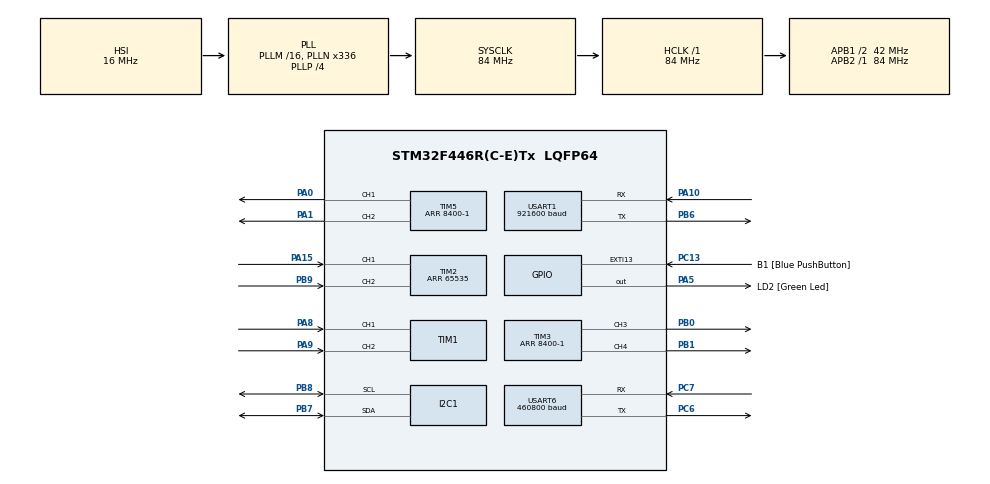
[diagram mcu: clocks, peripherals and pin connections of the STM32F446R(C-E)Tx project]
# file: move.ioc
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I2C1.I2C_Mode=I2C_Fast
Mcu.Family=STM32F4
Mcu.Name=STM32F446R(C-E)Tx
Mcu.Package=LQFP64
NVIC.I2C1_ER_IRQn=true\:1\:0\:true\:false\:true\:true\:true\:true
NVIC.I2C1_EV_IRQn=true\:1\:0\:true\:false\:true\:true\:true\:true
NVIC.PriorityGroup=NVIC_PRIORITYGROUP_4
NVIC.TIM4_IRQn=true\:1\:0\:true\:false\:true\:true\:true\:true
NVIC.USART1_IRQn=true\:1\:0\:true\:false\:true\:true\:true\:true
NVIC.USART6_IRQn=true\:0\:0\:true\:false\:true\:true\:true\:true
PA0-WKUP.Signal=S_TIM5_CH1
PA1.Signal=S_TIM5_CH2
PA10.Mode=Asynchronous
PA10.Signal=USART1_RX
PA13.GPIO_Label=TMS
PA13.Mode=Serial_Wire
PA13.Signal=SYS_JTMS-SWDIO
PA14.GPIO_Label=TCK
PA14.Mode=Serial_Wire
PA14.Signal=SYS_JTCK-SWCLK
PA15.GPIO_PuPd=GPIO_NOPULL
PA15.Signal=S_TIM2_CH1_ETR
PA5.GPIO_Label=LD2 [Green Led]
PA5.Signal=GPIO_Output
PA8.Signal=S_TIM1_CH1
PA9.Signal=S_TIM1_CH2
PB0.Signal=S_TIM3_CH3
PB1.Signal=S_TIM3_CH4
PB3.GPIO_Label=SWO
PB3.Signal=SYS_JTDO-SWO
PB6.Mode=Asynchronous
PB6.Signal=USART1_TX
PB7.GPIO_Pu=GPIO_PULLUP
PB7.Mode=I2C
PB7.Signal=I2C1_SDA
PB8.GPIO_Pu=GPIO_PULLUP
PB8.Mode=I2C
PB8.Signal=I2C1_SCL
PB9.GPIO_PuPd=GPIO_NOPULL
PB9.Signal=S_TIM2_CH2
PC13.GPIO_Label=B1 [Blue PushButton]
PC13.GPIO_ModeDefaultEXTI=GPIO_MODE_IT_FALLING
PC13.Signal=GPXTI13
PC14-OSC32_IN.Mode=LSE-External-Oscillator
PC14-OSC32_IN.Signal=RCC_OSC32_IN
PC15-OSC32_OUT.Mode=LSE-External-Oscillator
PC15-OSC32_OUT.Signal=RCC_OSC32_OUT
PC6.Mode=Asynchronous
PC6.Signal=USART6_TX
PC7.Mode=Asynchronous
PC7.Signal=USART6_RX
PH0-OSC_IN.Mode=HSE-External-Oscillator
PH0-OSC_IN.Signal=RCC_OSC_IN
PH1-OSC_OUT.Mode=HSE-External-Oscillator
PH1-OSC_OUT.Signal=RCC_OSC_OUT
ProjectManager.HeapSize=0x200
ProjectManager.StackSize=0x400
ProjectManager.TargetToolchain=MDK-ARM V5
RCC.48MHZClocksFreq_Value=84000000
RCC.AHBFreq_Value=84000000
RCC.APB1CLKDivider=RCC_HCLK_DIV2
RCC.APB1Freq_Value=42000000
RCC.APB1TimFreq_Value=84000000
RCC.APB2Freq_Value=84000000
RCC.APB2TimFreq_Value=84000000
RCC.CortexFreq_Value=84000000
RCC.FLatency-AdvancedSettings=FLASH_LATENCY_2
RCC.HCLKFreq_Value=84000000
RCC.HSE_VALUE=8000000
RCC.HSI_VALUE=16000000
RCC.PLLN=336
RCC.PLLP=RCC_PLLP_DIV4
RCC.SYSCLKFreq_VALUE=84000000
RCC.SYSCLKSource=RCC_SYSCLKSOURCE_PLLCLK
RCC.USBFreq_Value=168000000
RCC.VCOOutputFreq_Value=336000000
SH.S_TIM1_CH1.0=TIM1_CH1,Encoder_Interface
SH.S_TIM1_CH2.0=TIM1_CH2,Encoder_Interface
SH.S_TIM2_CH1_ETR.0=TIM2_CH1,Encoder_Interface
SH.S_TIM2_CH2.0=TIM2_CH2,Encoder_Interface
SH.S_TIM3_CH3.0=TIM3_CH3,PWM Generation3 CH3
SH.S_TIM3_CH4.0=TIM3_CH4,PWM Generation4 CH4
SH.S_TIM5_CH1.0=TIM5_CH1,PWM Generation1 CH1
SH.S_TIM5_CH2.0=TIM5_CH2,PWM Generation2 CH2
TIM1.EncoderMode=TIM_ENCODERMODE_TI12
TIM1.IC1Filter=10
TIM1.IC2Filter=10
TIM2.EncoderMode=TIM_ENCODERMODE_TI12
TIM2.IC1Filter=10
TIM2.IC2Filter=10
TIM2.Period=65535
TIM3.Channel-PWM\ Generation3\ CH3=TIM_CHANNEL_3
TIM3.Channel-PWM\ Generation4\ CH4=TIM_CHANNEL_4
TIM3.Period=8400-1
TIM4.AutoReloadPreload=TIM_AUTORELOAD_PRELOAD_ENABLE
TIM4.Period=999
TIM4.Prescaler=89
TIM4.TIM_MasterOutputTrigger=TIM_TRGO_UPDATE
TIM5.Channel-PWM\ Generation1\ CH1=TIM_CHANNEL_1
TIM5.Channel-PWM\ Generation2\ CH2=TIM_CHANNEL_2
TIM5.Period=8400-1
USART1.BaudRate=921600
USART1.VirtualMode=VM_ASYNC
USART6.BaudRate=460800
USART6.VirtualMode=VM_ASYNC
VP_TIM3_VS_ClockSourceINT.Mode=Internal
VP_TIM4_VS_ClockSourceINT.Mode=Internal
VP_TIM5_VS_ClockSourceINT.Mode=Internal
board=NUCLEO-F446RE

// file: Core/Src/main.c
/* USER CODE BEGIN Header */
/**
  ******************************************************************************
  * @file           : main.c
  * @brief          : Main program body
  ******************************************************************************
  * @attention
  *
  * Copyright (c) 2025 STMicroelectronics.
  * All rights reserved.
  *
  * This software is licensed under terms that can be found in the LICENSE file
  * in the root directory of this software component.
  * If no LICENSE file comes with this software, it is provided AS-IS.
  *
  ******************************************************************************
  */
/* USER CODE END Header */
#include "main.h"
#include "i2c.h"
#include "tim.h"
#include "usart.h"
#include "gpio.h"

/* USER CODE BEGIN Includes */
#include "encoder.h"
#include "string.h"
#include <stdio.h>
#include <math.h>
#include "mpu6500.h"
#include "pwm.h"
#include "pid.h"
#include "movement.h"
#include "rader.h"

/* USER CODE END Includes */

/* USER CODE BEGIN PV */
	//编码器变量
	uint32_t systick = 0;
	int encoder_A_l = 0,encoder_B_l = 0;//编码器（上一次）
	int encoder_A_n = 0,encoder_B_n = 0;//编码器（这一次）

	//imu变量（反馈量）
	Kalman_t kalmanX = {0.001f, 0.003f, 0.03f, 0.0f, 0.0f, {{0.0f, 0.0f}, {0.0f, 0.0f}}};
	Kalman_t kalmanY = {0.001f, 0.003f, 0.03f, 0.0f, 0.0f, {{0.0f, 0.0f}, {0.0f, 0.0f}}};
	Attitude_t attitude = {0.0f, 0.0f, 0.0f};
	float ax, ay, az, gx, gy, gz;//原始数据
	float yaw_last;
	float gz_last;
	int roll_int, pitch_int, yaw_int;//解算数据

	//pid变量
	extern PID_controller  yaw_v_pid;
	extern PID_controller  yaw_pid;
											/* 切线速度pwm  YAW角速度*/ /*yaw角度*/
	float Mechanical_zero[3]={ 0       ,   0,         0};
	float PID_yaw_v[3]= {  0,       0  ,     0 };//P、I、D 偏航角速度环，转向环内环
	float PID_yaw[3]= {  800,       0  ,     0 };//P、I、D 偏航角度环，转向环外环。前进：p--900
	int count1, count2;
	int duty;//输出量

	//蓝牙控制运动模块
	int in1_left, in1_right, in2_left, in2_right;//双轮pwm控制量
	uint8_t zhaunxiang_stop_flag = 0;//转向环标志位
	uint8_t rx_buffer;//接收字节
	uint8_t state = 0;//蓝牙状态机状态

	//雷达模块
	extern uint8_t uart4_rx_con;       //接收计数器
	extern uint8_t uart4_rx_chksum;      //异或校验
	extern uint8_t uart4_rx_buf[100];     //接收缓冲
	extern uint8_t uart4_tx_buf[10];     //接收缓冲
	extern uint8_t uart4_rx_data;  // ???????
	extern LaserPointTypeDef ax_ls_point[250];
	uint8_t time_str[27];

	//
	uint8_t left_flag = 1;//
	uint8_t right_flag = 1;

/* USER CODE END PV */

void SystemClock_Config(void);
/* USER CODE BEGIN PFP */
//编码器模块
//确保10ms读取一次
void Update_encoder(void)
{
	if(uwTick - systick  < 10)
		return;
	systick = uwTick;

	encoder_A_n = -Read_Encoder(2);//读取编码器计数值
	encoder_B_n = Read_Encoder(1);
}

/* USER CODE END PFP */

int main(void)
{

  /* MCU Configuration--------------------------------------------------------*/

  /* Reset of all peripherals, Initializes the Flash interface and the Systick. */
  HAL_Init();

  /* Configure the system clock */
  SystemClock_Config();

  /* Initialize all configured peripherals */
  MX_GPIO_Init();
  MX_TIM2_Init();
  MX_TIM3_Init();
  MX_TIM5_Init();
  MX_I2C1_Init();
  MX_TIM4_Init();
  MX_USART1_UART_Init();
  MX_USART6_UART_Init();
  MX_TIM1_Init();
  /* USER CODE BEGIN 2 */

	//开启编码器通道
	HAL_TIM_Encoder_Start(&htim2,TIM_CHANNEL_1);
	HAL_TIM_Encoder_Start(&htim2,TIM_CHANNEL_2);
	HAL_TIM_Encoder_Start(&htim1,TIM_CHANNEL_1);
	HAL_TIM_Encoder_Start(&htim1,TIM_CHANNEL_2);

	//pwm模块，开启pwm
	 HAL_TIM_PWM_Start(&htim5,TIM_CHANNEL_1);
	 HAL_TIM_PWM_Start(&htim5,TIM_CHANNEL_2);
	 HAL_TIM_PWM_Start(&htim3,TIM_CHANNEL_3);
	 HAL_TIM_PWM_Start(&htim3,TIM_CHANNEL_4);

	 //mpu6500
	 while(1)
	 {
			if(MPU6500_Init(&hi2c1) == 0)
			{
				char buff[50] ;
				sprintf(buff, "mpu6500 init error!");
				HAL_UART_Transmit_IT(&huart1, (uint8_t*)buff, strlen(buff));
			}
			else
				break;
	 }

	 //pid
	 //pid_init_yaw_v();
	 pid_init_yaw();

	 //开启接收中断
	 HAL_UART_Receive_IT(&huart1, &rx_buffer, 1);//蓝牙串口

		//雷达模块
		HAL_Delay(500); // 等待雷达上电初始化
	 AX_LASER_Start();

	 //所有模块准备就绪，开启定时器
	 HAL_TIM_Base_Start_IT(&htim4);

  /* USER CODE END 2 */

  /* Infinite loop */
  /* USER CODE BEGIN WHILE */
  while (1)
  {
		//更新编码器数据
		Update_encoder();//每隔10ms读取一次

		/*
		//发送imu数据
		char buff[50] ;
		sprintf(buff, "Yaw: %d.%02d, gz:%.2f, duty:%d\r\n",
               yaw_int / 100, abs(yaw_int % 100),gz, duty);//格式化输出字符串
		//sprintf(buff, "Roll");//格式化输出字符串
		HAL_UART_Transmit_IT(&huart1, (uint8_t*)buff, strlen(buff));
		*/

		//蓝牙控制状态机
		switch(state)
		{
			case 0: //停止
			{
				stop();

				char buff[50] ;
				sprintf(buff, "Roll: %d.%02d, Pitch: %d.%02d, Yaw: %d.%02d, gz:%f\r\n",
               roll_int / 100, abs(roll_int % 100),
               pitch_int / 100, abs(pitch_int % 100),
               yaw_int / 100, abs(yaw_int % 100), gz);//格式化输出字符串
				HAL_UART_Transmit_IT(&huart1, (uint8_t*)buff, strlen(buff));
				HAL_Delay(500);
				//HAL_UART_Transmit_IT(&huart1, "0", 1);
				break;
			}
			case 1: //前进
			{
				forward();

				char buff[50] ;
				sprintf(buff, "Roll: %d.%02d, Pitch: %d.%02d, Yaw: %d.%02d, duty:%d, gz:%d\r\n",
               roll_int / 100, abs(roll_int % 100),
               pitch_int / 100, abs(pitch_int % 100),
               yaw_int / 100, abs(yaw_int % 100), duty, gz);//格式化输出字符串
				HAL_UART_Transmit_IT(&huart1, (uint8_t*)buff, strlen(buff));
				HAL_Delay(500);
				/*
				char buff[50] ;
				sprintf(buff, "EncoderA: %d, EncoderB: %d\r\n", encoder_A_n, encoder_B_n);//格式化输出字符串
				HAL_UART_Transmit_IT(&huart1, (uint8_t*)buff, strlen(buff));//通过UART1发送数据
				HAL_Delay(500);
				//HAL_UART_Transmit_IT(&huart1, "1", 1);
				*/
				break;
			}
			case 2: //后退
			{
				back();

				char buff[50] ;
				sprintf(buff, "EncoderA: %d, EncoderB: %d\r\n", encoder_A_n, encoder_B_n);//格式化输出字符串
				HAL_UART_Transmit_IT(&huart1, (uint8_t*)buff, strlen(buff));//通过UART1发送数据
				HAL_Delay(500);
				//HAL_UART_Transmit_IT(&huart1, "2", 1);
				break;
			}
			case 3: //左转
			{
				left();

				char buff[50] ;
				sprintf(buff, "Roll: %d.%02d, Pitch: %d.%02d, Yaw: %d.%02d, duty:%d, gz:%f\r\n",
               roll_int / 100, abs(roll_int % 100),
               pitch_int / 100, abs(pitch_int % 100),
               yaw_int / 100, abs(yaw_int % 100), duty, gz);//格式化输出字符串
				HAL_UART_Transmit_IT(&huart1, (uint8_t*)buff, strlen(buff));
				HAL_Delay(500);
				/*
				char buff[50] ;
				sprintf(buff, "EncoderA: %d, EncoderB: %d\r\n", encoder_A_n, encoder_B_n);//格式化输出字符串
				HAL_UART_Transmit_IT(&huart1, (uint8_t*)buff, strlen(buff));//通过UART1发送数据
				HAL_Delay(500);
				*/
				//HAL_UART_Transmit_IT(&huart1, "3", 1);
				break;
			}
			case 4: //右转
			{
				right();

				char buff[50] ;
				sprintf(buff, "EncoderA: %d, EncoderB: %d\r\n", encoder_A_n, encoder_B_n);//格式化输出字符串
				HAL_UART_Transmit_IT(&huart1, (uint8_t*)buff, strlen(buff));//通过UART1发送数据
				HAL_Delay(500);
				//HAL_UART_Transmit_IT(&huart1, "4", 1);
				break;
			}
			case 5: //发送雷达数据
			{
				for(int i = 0; i < 250; i+=10)
				{
					sprintf(time_str, "A:%d.%d; D:%d mm\r\n", ax_ls_point[i].angle/100, ax_ls_point[i].angle%100, ax_ls_point[i].distance);
					HAL_UART_Transmit_IT(&huart1, time_str, sizeof(time_str));
					HAL_Delay(500);
				}
				break;
			}
			case 6: //发送imu数据
			{
				char buff[50] ;
				sprintf(buff, "ax:%.2f,ay:%.2f,az:%.2f, gx:%.2f,gy:%.2f,gz:%.2f\r\n",
               ax,ay,az,gx,gy,gz);
				/*sprintf(buff, "Roll: %d.%02d, Pitch: %d.%02d, Yaw: %d.%02d\r\n",
               roll_int / 100, abs(roll_int % 100),
               pitch_int / 100, abs(pitch_int % 100),
               yaw_int / 100, abs(yaw_int % 100));//格式化输出字符串*/
				//sprintf(buff, "Yaw: %d.%02d, gz:%.2f\r\n",
				//					 yaw_int / 100, abs(yaw_int % 100),gz);//格式化输出字符串
				//sprintf(buff, "Roll");//格式化输出字符串
				HAL_UART_Transmit_IT(&huart1, (uint8_t*)buff, strlen(buff));
				HAL_Delay(500);
				break;
			}
			case 7: //发送编码器数据
			{
				char buff[50] ;
				sprintf(buff, "EncoderA: %d, EncoderB: %d\r\n", encoder_A_n, encoder_B_n);//格式化输出字符串
				HAL_UART_Transmit_IT(&huart1, (uint8_t*)buff, strlen(buff));//通过UART1发送数据
				HAL_Delay(500);
				break;
			}
			default:
			{
				break;
			}
		}

		HAL_Delay(100);

    /* USER CODE END WHILE */

  }
}

void SystemClock_Config(void)
{
  RCC_OscInitTypeDef RCC_OscInitStruct = {0};
  RCC_ClkInitTypeDef RCC_ClkInitStruct = {0};

  /** Configure the main internal regulator output voltage
  */
  __HAL_RCC_PWR_CLK_ENABLE();
  __HAL_PWR_VOLTAGESCALING_CONFIG(PWR_REGULATOR_VOLTAGE_SCALE3);

  /** Initializes the RCC Oscillators according to the specified parameters
  * in the RCC_OscInitTypeDef structure.
  */
  RCC_OscInitStruct.OscillatorType = RCC_OSCILLATORTYPE_HSI;
  RCC_OscInitStruct.HSIState = RCC_HSI_ON;
  RCC_OscInitStruct.HSICalibrationValue = RCC_HSICALIBRATION_DEFAULT;
  RCC_OscInitStruct.PLL.PLLState = RCC_PLL_ON;
  RCC_OscInitStruct.PLL.PLLSource = RCC_PLLSOURCE_HSI;
  RCC_OscInitStruct.PLL.PLLM = 16;
  RCC_OscInitStruct.PLL.PLLN = 336;
  RCC_OscInitStruct.PLL.PLLP = RCC_PLLP_DIV4;
  RCC_OscInitStruct.PLL.PLLQ = 2;
  RCC_OscInitStruct.PLL.PLLR = 2;
  if (HAL_RCC_OscConfig(&RCC_OscInitStruct) != HAL_OK)
  {
    Error_Handler();
  }

  /** Initializes the CPU, AHB and APB buses clocks
  */
  RCC_ClkInitStruct.ClockType = RCC_CLOCKTYPE_HCLK|RCC_CLOCKTYPE_SYSCLK
                              |RCC_CLOCKTYPE_PCLK1|RCC_CLOCKTYPE_PCLK2;
  RCC_ClkInitStruct.SYSCLKSource = RCC_SYSCLKSOURCE_PLLCLK;
  RCC_ClkInitStruct.AHBCLKDivider = RCC_SYSCLK_DIV1;
  RCC_ClkInitStruct.APB1CLKDivider = RCC_HCLK_DIV2;
  RCC_ClkInitStruct.APB2CLKDivider = RCC_HCLK_DIV1;

  if (HAL_RCC_ClockConfig(&RCC_ClkInitStruct, FLASH_LATENCY_2) != HAL_OK)
  {
    Error_Handler();
  }
}

/* USER CODE BEGIN 4 */

void HAL_TIM_PeriodElapsedCallback(TIM_HandleTypeDef *htim) {
    if (htim == &htim4) {

			  count1++;//分时器

			  //imu数据获取
        static float dt = 0.001f;
        MPU6500_Read_Accel(&hi2c1, &ax, &ay, &az);
        MPU6500_Read_Gyro(&hi2c1, &gx, &gy, &gz);
				//对原始三轴角速度处理：处理零偏和抖动问题
				gz = gz +0.5;
				if(gz <= 1.4 && gz >= -1.4) gz = 0;
				gz = gz_last*0.3 + gz*0.7;
				gz_last = gz;

        Attitude_Update(ax, ay, az, gx, gy, gz, yaw_last, dt);

        roll_int = (int)(attitude.roll * 100); // 转换为整数 (e.g., 12.34 -> 1234)
        pitch_int = (int)(attitude.pitch * 100);
        yaw_int = (int)(attitude.yaw * 100);

				//偏航角度转向环
				if(count1 == 10)
				{
					count1=0;

					//duty=(int)(increment__yaw(&yaw_pid, attitude.yaw));//目标量是俯仰角度，反馈量是俯仰角度，输出量是电机占空比

					///Set_PWM_right(in1_right,in2_right);//右轮反转
					//Set_PWM_left(in1_left,in2_left);//左轮正转

					if(state == 0)//停止
					{
						Set_PWM_right(0,0);//右轮反转
						Set_PWM_left(0,0);//左轮正转
					}
					if(state == 2)//后退
					{
						Set_PWM_right(in1_right,in2_right);//右轮反转
						Set_PWM_left(in1_left,in2_left);//左轮正转
					}
					if(state == 1)//前进
					{
						duty=(int)(increment__yaw(&yaw_pid, attitude.yaw));//目标量是俯仰角度，反馈量是俯仰角度，输出量是电机占空比
						Set_PWM_right(in1_right+duty,in2_right);//右轮反转
						Set_PWM_left(in1_left,in2_left-duty);//左轮正转
					}
					if(state == 3)//左转
					{
						if(left_flag)
						{
							Change_yaw_setpoint(&yaw_pid,yaw_pid.setpoint+90);
							left_flag = 0;
						}
						duty=(int)(increment__yaw(&yaw_pid, attitude.yaw));//目标量是俯仰角度，反馈量是俯仰角度，输出量是电机占空比
						if(duty > 0)
						{
							Set_PWM_right(duty,0);//右轮反转
							Set_PWM_left(duty,0);//左轮正转
						}
						else
						{
							Set_PWM_right(0,0);//右轮反转
							Set_PWM_left(0,0);//左轮正转
						}

						}
					if(state == 4)//右转
					{
						if(right_flag)
						{
							Change_yaw_setpoint(&yaw_pid,yaw_pid.setpoint-90);
							right_flag = 0;
						}
						duty=(int)(increment__yaw(&yaw_pid, attitude.yaw));//目标量是俯仰角度，反馈量是俯仰角度，输出量是电机占空比
						if(duty < 0)
						{
							Set_PWM_right(0,-duty);//右轮反转
							Set_PWM_left(0,-duty);//左轮正转
						}
						else
						{
							Set_PWM_right(0,0);//右轮反转
							Set_PWM_left(0,0);//左轮正转
						}
					}

				}

				/*
				if(count1 == 10 && zhaunxiang_stop_flag == 1)//不加转向环
				{
					count1=0;

					//控制电机前进
					//Set_PWM_right(4200,0);
					Set_PWM_right(pwm_right,turn_right);
					Set_PWM_left(turn_left,pwm_left);
					*/
				}

			}

void HAL_UART_RxCpltCallback(UART_HandleTypeDef *huart)
{

	//蓝牙控制模块
	if (huart->Instance == USART1)
	{
			if(rx_buffer == '0')//停止
				state = 0;
			if(rx_buffer == '1')//前进
				state = 1;
			if(rx_buffer == '2')//后退
				state = 2;
			if(rx_buffer == '3')//左转
			{state = 3;
			left_flag = 1;}
			if(rx_buffer == '4')//右转
				state = 4;
			if(rx_buffer == '5')//发送雷达数据
				state = 5;
			if(rx_buffer == '6')//发送imu数据
				state = 6;
			if(rx_buffer == '7')//发送编码器数据
				state = 7;

			HAL_UART_Receive_IT(&huart1, &rx_buffer, 1);
    }

	if (huart->Instance == USART6)
    {
        uint8_t Res = uart4_rx_data;

        uint8_t temp;

        if (uart4_rx_con < 3)
        {
            if(uart4_rx_con == 0)  //????1
            {
                //????1
                if((Res>>4) == LS_HEADER1)
                {
                    uart4_rx_buf[uart4_rx_con] = Res;
                    uart4_rx_con = 1;
                }
            }
            else if(uart4_rx_con == 1) //????2
            {
                //????2
                if((Res>>4) == LS_HEADER2)
                {
                    uart4_rx_buf[uart4_rx_con] = Res;
                    uart4_rx_con = 2;
                }
                else
                {
                    uart4_rx_con = 0;
                }
            }
            else  //???????
            {
                uart4_rx_buf[uart4_rx_con] = Res;
                uart4_rx_con = 3;

                //????
                uart4_rx_chksum = Res;
            }
        }
        else  //????
        {
            //???????
            if(uart4_rx_con < (LS_F_LEN-1))
            {
                uart4_rx_buf[uart4_rx_con] = Res;
                uart4_rx_con++;
                uart4_rx_chksum = uart4_rx_chksum^Res;
            }
            else
            {
                //????????
                uart4_rx_buf[uart4_rx_con] = Res;
                uart4_rx_chksum = uart4_rx_chksum^Res;

                //??
                uart4_rx_con = 0;

                //?????????
                temp = ((uint8_t)(uart4_rx_buf[1]<<4)) + (uint8_t)(uart4_rx_buf[0]&0x0F);

                //????????
                if( uart4_rx_chksum == temp)
                {
                    //????,???????
                    LS_DataHandle();
                }
            }
        }

        // ?????????
        HAL_UART_Receive_IT(&huart6, &uart4_rx_data, 1);
    }

}

/* USER CODE END 4 */

void Error_Handler(void)
{
  __disable_irq();
  while (1)
  {
  }
}
